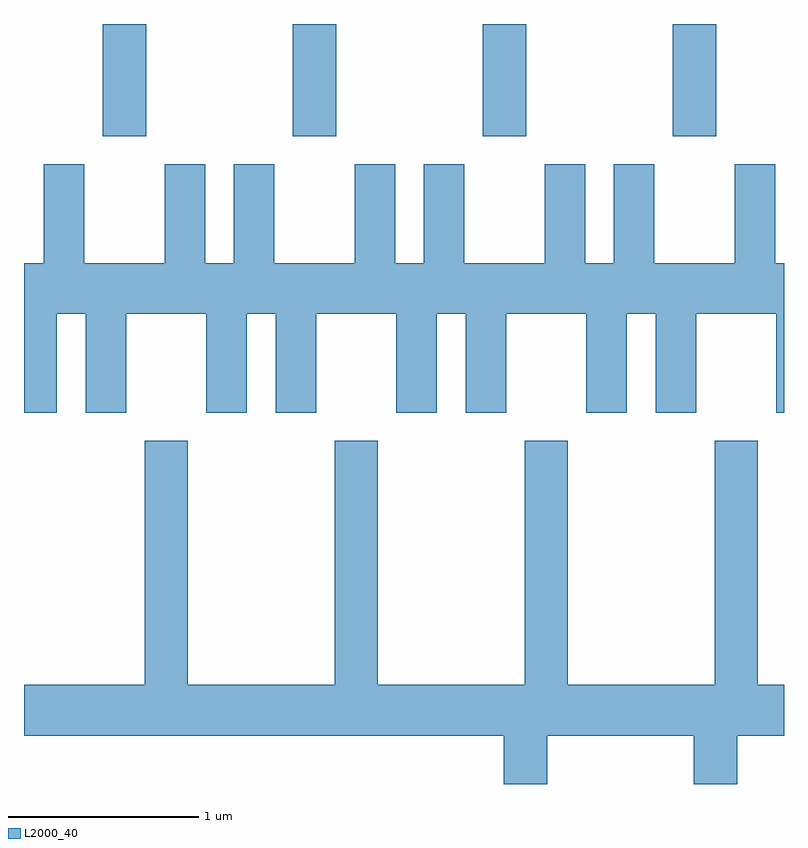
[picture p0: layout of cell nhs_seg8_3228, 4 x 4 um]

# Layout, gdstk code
import gdstk
lib = gdstk.Library(unit=1e-6, precision=1e-09)
def R(c, l, rs):  # rectangles x0, y0, x1, y1
    for r in rs: c.add(gdstk.rectangle(r[:2], r[2:], *l))
def A(c, l, x, y, w, h, nx, ny, dx, dy):  # array of equal rectangles
    R(c, l, [(x+i*dx, y+j*dy, x+i*dx+w, y+j*dy+h) for i in range(nx) for j in range(ny)])
def P(c, l, *ps):  # polygons
    for p in ps: c.add(gdstk.Polygon(p, *l))
L2000_40 = (2000, 40)

nhs_seg8_3228 = lib.new_cell('nhs_seg8_3228')
A(nhs_seg8_3228, L2000_40, 282.026, 1881.751, 0.228, 0.591, 4, 1, 1, 0)
P(nhs_seg8_3228, L2000_40, [(281.784,1880.816),(281.936,1880.816),(281.936,1880.296),(282.149,1880.296),(282.149,1880.816),(282.571,1880.816),(282.571,1880.296),(282.784,1880.296),(282.784,1880.816),(282.936,1880.816),(282.936,1880.296),(283.149,1880.296),(283.149,1880.816),(283.571,1880.816),(283.571,1880.296),(283.784,1880.296),(283.784,1880.816),(283.936,1880.816),(283.936,1880.296),(284.149,1880.296),(284.149,1880.816),(284.571,1880.816),(284.571,1880.296),(284.784,1880.296),(284.784,1880.816),(284.936,1880.816),(284.936,1880.296),(285.149,1880.296),(285.149,1880.816),(285.571,1880.816),(285.571,1880.296),(285.611,1880.296),(285.611,1881.084),(285.564,1881.084),(285.564,1881.604),(285.351,1881.604),(285.351,1881.084),(284.929,1881.084),(284.929,1881.604),(284.716,1881.604),(284.716,1881.084),(284.564,1881.084),(284.564,1881.604),(284.351,1881.604),(284.351,1881.084),(283.929,1881.084),(283.929,1881.604),(283.716,1881.604),(283.716,1881.084),(283.564,1881.084),(283.564,1881.604),(283.351,1881.604),(283.351,1881.084),(282.929,1881.084),(282.929,1881.604),(282.716,1881.604),(282.716,1881.084),(282.564,1881.084),(282.564,1881.604),(282.351,1881.604),(282.351,1881.084),(281.929,1881.084),(281.929,1881.604),(281.716,1881.604),(281.716,1881.084),(281.611,1881.084),(281.611,1880.296),(281.784,1880.296)],
  [(284.364,1878.596),(285.136,1878.596),(285.136,1878.342),(285.364,1878.342),(285.364,1878.596),(285.611,1878.596),(285.611,1878.864),(285.474,1878.864),(285.474,1880.149),(285.246,1880.149),(285.246,1878.864),(284.474,1878.864),(284.474,1880.149),(284.246,1880.149),(284.246,1878.864),(283.474,1878.864),(283.474,1880.149),(283.246,1880.149),(283.246,1878.864),(282.474,1878.864),(282.474,1880.149),(282.246,1880.149),(282.246,1878.864),(281.611,1878.864),(281.611,1878.596),(284.136,1878.596),(284.136,1878.342),(284.364,1878.342)])

lib.write_gds('nhs_seg8_3228.gds')
